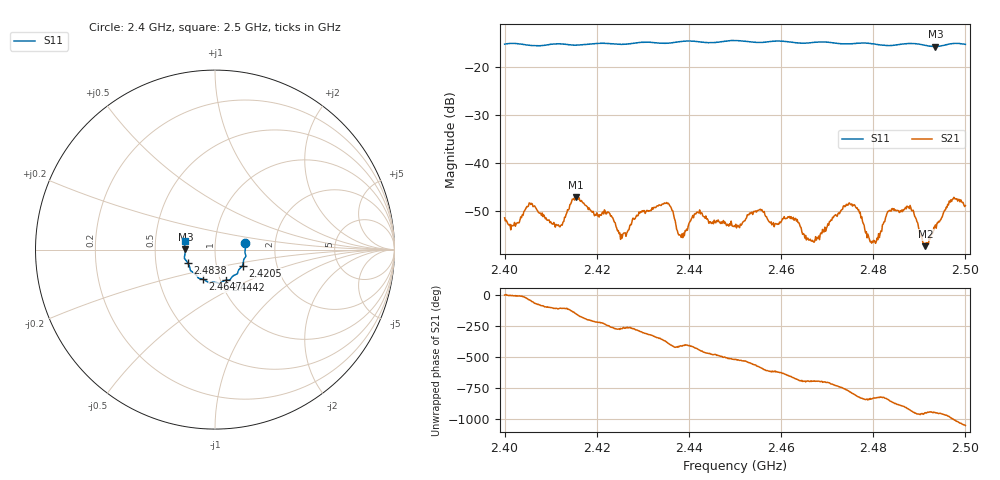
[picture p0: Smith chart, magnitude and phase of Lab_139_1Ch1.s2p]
# Hz S RI R 50
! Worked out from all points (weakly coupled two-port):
!   601 points, 2.4 GHz to 2.5 GHz, reference 50 ohm
!   highest |S21| = -47.15 dB at 2.4155 GHz (marker M1); lowest = -57.5 dB at 2.4913 GHz (marker M2)
!   lowest |S11| = -15.7 dB at 2.4935 GHz (marker M3), VSWR 1.39, Z = 35.9 + j0.105 ohm
!   |S11| at or under -10 dB: start of sweep to end of sweep
!   S12 and S22 are empty: the file has one direction only
!   S11 on the Smith chart (normalised r, x): 2.4 GHz: 1.40, +0.11; 2.4205 GHz: 1.34, -0.25; 2.4442 GHz: 1.06, -0.37; 2.4647 GHz: 0.83, -0.29; 2.4838 GHz: 0.73, -0.11; 2.5 GHz: 0.71, +0.07
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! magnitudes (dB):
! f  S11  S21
! 2.4 GHz  -15.2  -51.5
! 2.4058 GHz  -15.5  -48.5
! 2.412 GHz  -15.1  -53.4
! 2.4155 GHz  -15.4  -47.2
! 2.4167 GHz  -15.3  -47.9
! 2.4205 GHz  -15.0  -51.4
! 2.4257 GHz  -15.2  -54.9
! 2.4333 GHz  -14.9  -49.0
! 2.4382 GHz  -14.6  -55.2
! 2.4442 GHz  -14.9  -52.0
! 2.45 GHz  -14.4  -53.4
! 2.4553 GHz  -14.8  -49.8
! 2.4647 GHz  -15.0  -55.0
! 2.4667 GHz  -14.8  -56.4
! 2.4748 GHz  -15.1  -48.4
! 2.4802 GHz  -15.1  -56.2
! 2.4833 GHz  -15.5  -50.2
! 2.4838 GHz  -15.5  -50.2
! 2.4882 GHz  -15.0  -49.5
! 2.4913 GHz  -15.4  -57.5
! 2.4935 GHz  -15.7  -53.0
! 2.5 GHz  -15.2  -49.0
